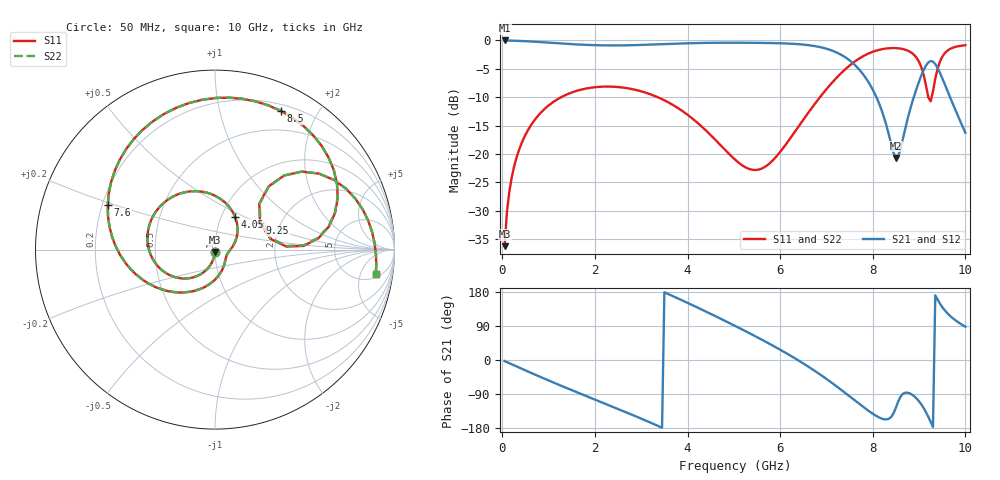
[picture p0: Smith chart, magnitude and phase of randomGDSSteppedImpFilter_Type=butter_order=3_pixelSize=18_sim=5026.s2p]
! freq	dB(S11)	phase(S11)	dB(S12)	phase(S12)
!  dB(S21)	phase(S21)	dB(S22)	phase(S22)
!S-par simulation data
#  GHz  S  DB  R 50
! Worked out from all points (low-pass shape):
!   200 points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, 50 MHz to 10 GHz, reference 50 ohm
!   highest |S21| = 0.00 dB at 50 MHz (marker M1); lowest = -20.7 dB at 8.5 GHz (marker M2)
!   |S21| within 3 dB of the highest: start of sweep to 7.412 GHz
!   lowest |S11| = -36.3 dB at 50 MHz (marker M3), VSWR 1.03, Z = 49.9 - j1.53 ohm
!   |S11| at or under -10 dB: start of sweep to 1.272 GHz; 3.354 GHz to 6.86 GHz (3.506 GHz wide, 68.7 % of centre); 9.199 GHz to 9.271 GHz (72.34 MHz wide, 0.783 % of centre)
!   |S22| runs from -36.3 to -0.9 dB; largest |S21 - S12| = 0
!   S11 on the Smith chart (normalised r, x): 50 MHz: 1.00, -0.03; 4.05 GHz: 1.16, +0.44; 7.6 GHz: 0.22, +0.19; 8.5 GHz: 0.27, +1.55; 9.25 GHz: 1.57, +0.51; 10 GHz: 6, -9
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0.05  -36.27 -92.7  -0.00 -2.8  -0.00 -2.8  -36.27 -92.7
0.2  -24.30 -101.3  -0.03 -11.1  -0.03 -11.1  -24.30 -101.3
0.5  -16.64 -117.9  -0.13 -27.4  -0.13 -27.4  -16.64 -117.9
1.1  -10.85 -149.8  -0.45 -59.2  -0.45 -59.2  -10.85 -149.8
1.75  -8.58 177.4  -0.76 -92.0  -0.76 -92.0  -8.58 177.4
2.55  -8.26 137.8  -0.88 -131.7  -0.88 -131.7  -8.26 137.8
3.4  -10.17 94.0  -0.68 -175.9  -0.68 -175.9  -10.17 94.1
4.05  -13.41 58.4  -0.49 147.9  -0.49 147.9  -13.41 58.6
5.05  -21.19 1.1  -0.40 88.6  -0.40 88.6  -21.19 1.6
5.5  -22.82 -26.8  -0.42 60.4  -0.42 60.4  -22.82 -26.5
6  -19.65 -62.0  -0.50 27.2  -0.50 27.2  -19.66 -62.3
6.7  -11.71 -117.1  -0.93 -24.8  -0.93 -24.8  -11.71 -117.5
7.15  -7.18 -157.5  -1.88 -63.3  -1.88 -63.3  -7.18 -157.8
7.6  -3.78 157.6  -4.23 -105.6  -4.23 -105.6  -3.78 157.4
8.05  -1.86 110.5  -9.50 -145.7  -9.50 -145.7  -1.85 110.5
8.35  -1.37 79.7  -16.70 -155.0  -16.70 -155.0  -1.37 79.8
8.5  -1.36 64.6  -20.72 -125.6  -20.72 -125.6  -1.35 64.8
8.9  -2.61 22.6  -9.62 -96.3  -9.62 -96.3  -2.60 22.9
9.1  -6.12 2.4  -5.20 -126.9  -5.20 -126.9  -6.09 2.8
9.25  -10.73 30.5  -3.63 -163.3  -3.63 -163.3  -10.64 30.6
9.5  -2.88 36.1  -6.64 139.8  -6.64 139.8  -2.88 36.1
10  -0.85 -8.8  -16.28 87.8  -16.28 87.8  -0.85 -8.7
